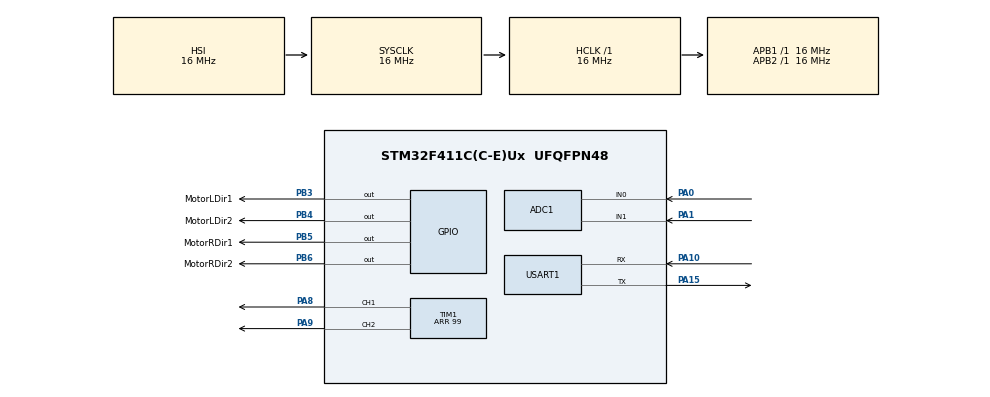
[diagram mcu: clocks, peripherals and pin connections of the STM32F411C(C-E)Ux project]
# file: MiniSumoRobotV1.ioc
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ADC1.Channel-0\#ChannelRegularConversion=ADC_CHANNEL_0
ADC1.Channel-1\#ChannelRegularConversion=ADC_CHANNEL_1
ADC1.ClockPrescaler=ADC_CLOCK_SYNC_PCLK_DIV4
ADC1.ContinuousConvMode=ENABLE
ADC1.DMAContinuousRequests=ENABLE
ADC1.NbrOfConversion=2
ADC1.NbrOfConversionFlag=1
ADC1.Rank-0\#ChannelRegularConversion=1
ADC1.Rank-1\#ChannelRegularConversion=2
ADC1.SamplingTime-0\#ChannelRegularConversion=ADC_SAMPLETIME_3CYCLES
ADC1.SamplingTime-1\#ChannelRegularConversion=ADC_SAMPLETIME_3CYCLES
ADC1.master=1
Dma.ADC1.0.Direction=DMA_PERIPH_TO_MEMORY
Dma.ADC1.0.FIFOMode=DMA_FIFOMODE_DISABLE
Dma.ADC1.0.Instance=DMA2_Stream0
Dma.ADC1.0.MemDataAlignment=DMA_MDATAALIGN_HALFWORD
Dma.ADC1.0.MemInc=DMA_MINC_ENABLE
Dma.ADC1.0.Mode=DMA_CIRCULAR
Dma.ADC1.0.PeriphDataAlignment=DMA_PDATAALIGN_HALFWORD
Dma.ADC1.0.PeriphInc=DMA_PINC_DISABLE
Dma.ADC1.0.Priority=DMA_PRIORITY_LOW
Dma.Request0=ADC1
Mcu.Family=STM32F4
Mcu.Name=STM32F411C(C-E)Ux
Mcu.Package=UFQFPN48
NVIC.DMA2_Stream0_IRQn=true\:0\:0\:false\:false\:true\:false\:true\:true
NVIC.PriorityGroup=NVIC_PRIORITYGROUP_4
PA0-WKUP.Signal=ADCx_IN0
PA1.Signal=ADCx_IN1
PA10.Mode=Asynchronous
PA10.Signal=USART1_RX
PA13.Mode=Serial_Wire
PA13.Signal=SYS_JTMS-SWDIO
PA14.Mode=Serial_Wire
PA14.Signal=SYS_JTCK-SWCLK
PA15.Mode=Asynchronous
PA15.Signal=USART1_TX
PA8.Signal=S_TIM1_CH1
PA9.Signal=S_TIM1_CH2
PB3.GPIO_Label=MotorLDir1
PB3.Signal=GPIO_Output
PB4.GPIO_Label=MotorLDir2
PB4.Signal=GPIO_Output
PB5.GPIO_Label=MotorRDir1
PB5.Signal=GPIO_Output
PB6.GPIO_Label=MotorRDir2
PB6.Signal=GPIO_Output
PC14-OSC32_IN.Mode=LSE-External-Oscillator
PC14-OSC32_IN.Signal=RCC_OSC32_IN
PC15-OSC32_OUT.Mode=LSE-External-Oscillator
PC15-OSC32_OUT.Signal=RCC_OSC32_OUT
PH0\ -\ OSC_IN.Mode=HSE-External-Oscillator
PH0\ -\ OSC_IN.Signal=RCC_OSC_IN
PH1\ -\ OSC_OUT.Mode=HSE-External-Oscillator
PH1\ -\ OSC_OUT.Signal=RCC_OSC_OUT
ProjectManager.HeapSize=0x200
ProjectManager.StackSize=0x400
ProjectManager.TargetToolchain=STM32CubeIDE
RCC.AHBFreq_Value=16000000
RCC.APB1Freq_Value=16000000
RCC.APB2Freq_Value=16000000
RCC.CortexFreq_Value=16000000
RCC.HSE_VALUE=25000000
RCC.HSI_VALUE=16000000
RCC.SYSCLKFreq_VALUE=16000000
RCC.VCOOutputFreq_Value=192000000
SH.ADCx_IN0.0=ADC1_IN0,IN0
SH.ADCx_IN1.0=ADC1_IN1,IN1
SH.S_TIM1_CH1.0=TIM1_CH1,PWM Generation1 CH1
SH.S_TIM1_CH2.0=TIM1_CH2,PWM Generation2 CH2
TIM1.Channel-PWM\ Generation1\ CH1=TIM_CHANNEL_1
TIM1.Channel-PWM\ Generation2\ CH2=TIM_CHANNEL_2
TIM1.Period=99
USART1.VirtualMode=VM_ASYNC
board=custom

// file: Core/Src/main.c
/* USER CODE BEGIN Header */
/**
  ******************************************************************************
  * @file           : main.c
  * @brief          : Main program body
  ******************************************************************************
  * @attention
  *
  * Copyright (c) 2025 STMicroelectronics.
  * All rights reserved.
  *
  * This software is licensed under terms that can be found in the LICENSE file
  * in the root directory of this software component.
  * If no LICENSE file comes with this software, it is provided AS-IS.
  *
  ******************************************************************************
  */
/* USER CODE END Header */
#include "main.h"
#include "adc.h"
#include "dma.h"
#include "tim.h"
#include "usart.h"
#include "gpio.h"

/* USER CODE BEGIN Includes */
#include "motor_simple.h"
#include "sumo_strategy.h"
/* USER CODE END Includes */

/* USER CODE BEGIN PV */
//ADC Sharp Sensors
//uint8_t AdcValuesSize = 5;
uint16_t AdcValues[3][2];
volatile uint16_t *SharpValueL;

uint16_t SharpValueR;
uint16_t SharpMeanR, SharpMeanL;
float SharpVoltageL;
float SharpVoltageR;

float SharpVoltageFilteredL;
float SharpVoltageFilteredR;

//Motors
Motor_t MotorL;
uint16_t PwmL;

Motor_t MotorR;
uint16_t PwmR;

//Initialize Strategy
SumoMotors_t SumoMotors;
SumoSensors_t SumoSensors;

uint16_t LastMeasure;
/* USER CODE END PV */

void SystemClock_Config(void);

int main(void)
{

  /* MCU Configuration--------------------------------------------------------*/

  /* Reset of all peripherals, Initializes the Flash interface and the Systick. */
  HAL_Init();

  /* Configure the system clock */
  SystemClock_Config();

  /* Initialize all configured peripherals */
  MX_GPIO_Init();
  MX_DMA_Init();
  MX_USART1_UART_Init();
  MX_ADC1_Init();
  MX_TIM1_Init();
  /* USER CODE BEGIN 2 */
  HAL_ADC_Start_DMA(&hadc1, (uint32_t*) AdcValues, 3 * 2);

  //Initialize motors
  Motor_Init(&MotorL, &htim1, TIM_CHANNEL_1, PwmL, MotorLDir1_GPIO_Port , MotorLDir1_Pin, MotorLDir2_GPIO_Port, MotorLDir2_Pin);
  Motor_Init(&MotorR, &htim1, TIM_CHANNEL_2, PwmR, MotorRDir1_GPIO_Port , MotorRDir1_Pin, MotorRDir2_GPIO_Port, MotorRDir2_Pin);

  //Initialize motors with sumo strategy
  Sumo_InitMotors(&SumoMotors, &MotorL, &MotorR);
  Sumo_InitDistanceSensors(&SumoSensors, AdcValues[0], AdcValues[1]);
//motors test
  /*
  Motor_SetRideParameters(&MotorL, 50, 1);
  Motor_Ride(&MotorL);
  Motor_SetRideParameters(&MotorR, 50, 1);
  Motor_Ride(&MotorR);
   */
  //SumoAtack(&SumoMotors);

  /* USER CODE END 2 */

  /* Infinite loop */
  /* USER CODE BEGIN WHILE */
  while (1)
  {
	  uint8_t i;
	  for(i = 0; i < 3; i++)
	  {

	  }

	  //AdcToVoltage(&AdcValues[0], &SharpVoltageL);
	  //IIRFilter(0.3, SharpVoltageL, &SharpVoltageFilteredL);
	  //SharpValueL = AdcValues[0];
	  //SharpValueR = AdcValues[1];
	  //HAL_Delay(50);

	 /*
	  uint16_t MeanTmpL = 0;
	  uint16_t MeanTmpR = 0;
	  for(uint8_t i = 0; i < AdcValuesSize; i++)
	  {
		  MeanTmpR += AdcValues[i][1];
		  MeanTmpL += AdcValues[i][0];
	  }
	  SharpMeanL = MeanTmpL / AdcValuesSize;
	  SharpMeanR = MeanTmpR / AdcValuesSize;
	  LastMeasure = AdcValues[0][1]
	*/

	  //SharpVoltageL = (SharpValueL / 4095.0) * 3.3;
    /* USER CODE END WHILE */

  }
}

void SystemClock_Config(void)
{
  RCC_OscInitTypeDef RCC_OscInitStruct = {0};
  RCC_ClkInitTypeDef RCC_ClkInitStruct = {0};

  /** Configure the main internal regulator output voltage
  */
  __HAL_RCC_PWR_CLK_ENABLE();
  __HAL_PWR_VOLTAGESCALING_CONFIG(PWR_REGULATOR_VOLTAGE_SCALE1);

  /** Initializes the RCC Oscillators according to the specified parameters
  * in the RCC_OscInitTypeDef structure.
  */
  RCC_OscInitStruct.OscillatorType = RCC_OSCILLATORTYPE_HSI;
  RCC_OscInitStruct.HSIState = RCC_HSI_ON;
  RCC_OscInitStruct.HSICalibrationValue = RCC_HSICALIBRATION_DEFAULT;
  RCC_OscInitStruct.PLL.PLLState = RCC_PLL_NONE;
  if (HAL_RCC_OscConfig(&RCC_OscInitStruct) != HAL_OK)
  {
    Error_Handler();
  }

  /** Initializes the CPU, AHB and APB buses clocks
  */
  RCC_ClkInitStruct.ClockType = RCC_CLOCKTYPE_HCLK|RCC_CLOCKTYPE_SYSCLK
                              |RCC_CLOCKTYPE_PCLK1|RCC_CLOCKTYPE_PCLK2;
  RCC_ClkInitStruct.SYSCLKSource = RCC_SYSCLKSOURCE_HSI;
  RCC_ClkInitStruct.AHBCLKDivider = RCC_SYSCLK_DIV1;
  RCC_ClkInitStruct.APB1CLKDivider = RCC_HCLK_DIV1;
  RCC_ClkInitStruct.APB2CLKDivider = RCC_HCLK_DIV1;

  if (HAL_RCC_ClockConfig(&RCC_ClkInitStruct, FLASH_LATENCY_0) != HAL_OK)
  {
    Error_Handler();
  }
}

void Error_Handler(void)
{
  __disable_irq();
  while (1)
  {
  }
}
